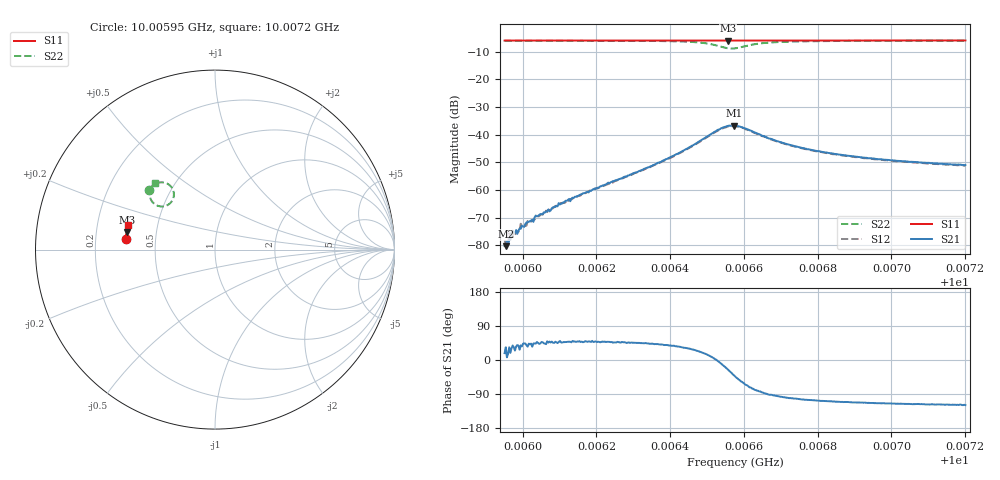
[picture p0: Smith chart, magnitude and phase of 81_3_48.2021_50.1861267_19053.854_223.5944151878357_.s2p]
#  HZ  S  RI  R  50.00
! Rohde & Schwarz Vector Network Analyzer
! Rohde-Schwarz,ZNB20-2Port,1311601062101988,3.16
! Created: UTC 3/20/2024, 11:39:42 AM
! freq[Hz]  re:S11  im:S11  re:S21  im:S21  re:S12  im:S12  re:S22  im:S22
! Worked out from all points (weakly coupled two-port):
!   401 points, 10.00595 GHz to 10.0072 GHz, reference 50 ohm
!   highest |S21| = -36.71 dB at 10.00657 GHz (marker M1); lowest = -80.3 dB at 10.00595 GHz (marker M2)
!   lowest |S11| = -6.0 dB at 10.00656 GHz (marker M3), VSWR 3.01, Z = 16.8 + j4.39 ohm
!   |S11| at or under -10 dB: nowhere
!   |S22| runs from -8.9 to -6.0 dB; largest |S21 - S12| = 0.001
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1.0005951e10  -0.498 0.0593  9.17e-05 3e-05  0.000124 1.06e-05  -0.3692 0.3347
1.0005954e10  -0.4979 0.0595  8e-05 5.36e-05  9.97e-05 3.65e-05  -0.3689 0.3349
1.000596e10  -0.4978 0.0598  9.67e-05 2.86e-05  8.74e-05 5.51e-05  -0.3687 0.3355
1.000597e10  -0.4978 0.0605  0.000145 8.84e-05  0.000137 8.65e-05  -0.3681 0.3361
1.0005976e10  -0.4978 0.061  0.000145 9.65e-05  0.00013 0.00011  -0.3677 0.3364
1.0005985e10  -0.4978 0.0615  0.000124 0.000102  0.000159 8.84e-05  -0.3671 0.3371
1.0006001e10  -0.4975 0.0627  0.000159 0.000148  0.00018 0.000117  -0.3662 0.3381
1.0006038e10  -0.4973 0.0652  0.000225 0.000245  0.000226 0.000234  -0.3639 0.3407
1.0006088e10  -0.4971 0.0683  0.000328 0.000368  0.000338 0.000386  -0.3604 0.3443
1.000616e10  -0.4965 0.073  0.000556 0.000626  0.000535 0.000659  -0.3549 0.3498
1.000637e10  -0.4945 0.0867  0.00235 0.00206  0.00221 0.00212  -0.3257 0.3691
1.0006426e10  -0.4938 0.0903  0.00387 0.0027  0.00367 0.00281  -0.3071 0.3743
1.0006491e10  -0.4929 0.0947  0.0081 0.0026  0.00774 0.00291  -0.265 0.3671
1.0006532e10  -0.492 0.0969  0.0123 -0.00101  0.0121 -0.000333  -0.2313 0.3252
1.0006557e10  -0.4914 0.098  0.013 -0.0063  0.0129 -0.00542  -0.2366 0.2761
1.0006573e10  -0.4914 0.0986  0.0112 -0.0094  0.0113 -0.00866  -0.2593 0.2509
1.0006576e10  -0.4915 0.0989  0.0107 -0.00989  0.0108 -0.00913  -0.265 0.2476
1.0006645e10  -0.4916 0.1029  0.00123 -0.00991  0.00153 -0.00967  -0.3531 0.2717
1.000671e10  -0.4911 0.1074  -0.00103 -0.00685  -0.000691 -0.00678  -0.3635 0.3082
1.0006785e10  -0.4902 0.1123  -0.00144 -0.00505  -0.00121 -0.00503  -0.3601 0.3296
1.0006995e10  -0.4876 0.1257  -0.00143 -0.00316  -0.00128 -0.00315  -0.3459 0.3573
1.0007201e10  -0.4845 0.1387  -0.00136 -0.00247  -0.00121 -0.00247  -0.3336 0.3724
